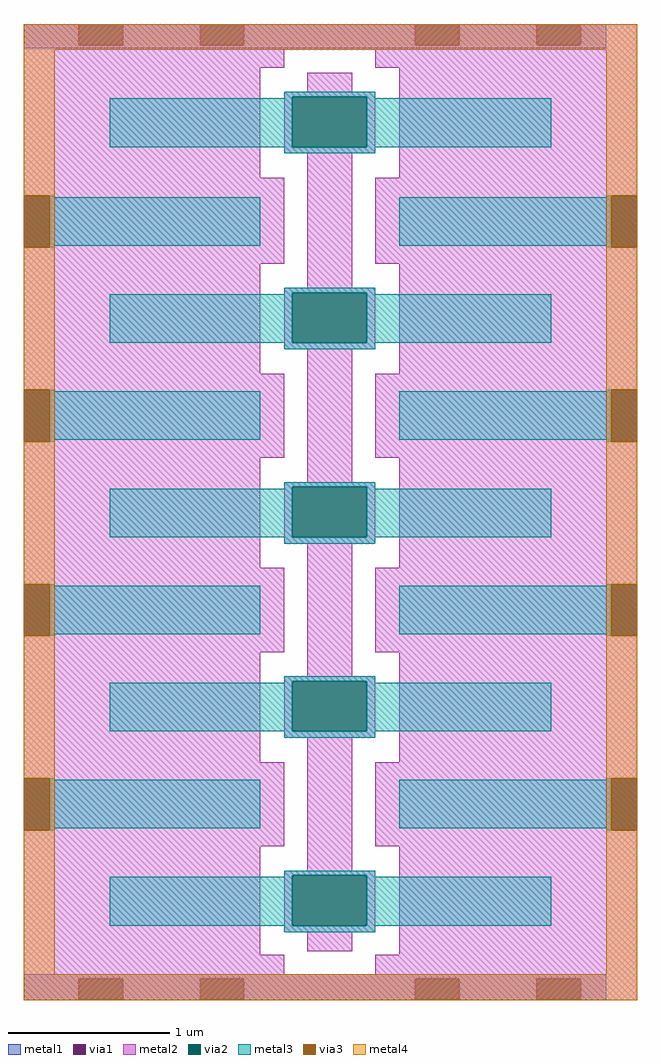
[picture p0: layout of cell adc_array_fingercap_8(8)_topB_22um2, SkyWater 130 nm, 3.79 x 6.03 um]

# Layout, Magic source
magic
tech sky130A
magscale 1 2
<< metal1 >>
rect 364 1212 432 1238
rect 486 1212 582 1238
rect 636 1212 848 1238
rect 902 1212 998 1238
rect 1052 1212 1084 1238
rect 364 1208 1084 1212
rect 364 58 1084 64
rect 364 32 432 58
rect 486 32 582 58
rect 636 32 848 58
rect 902 32 998 58
rect 1052 32 1084 58
<< via1 >>
rect 432 1212 486 1238
rect 582 1212 636 1238
rect 848 1212 902 1238
rect 998 1212 1052 1238
rect 432 32 486 58
rect 582 32 636 58
rect 848 32 902 58
rect 998 32 1052 58
<< metal2 >>
rect 364 1212 432 1238
rect 486 1212 582 1238
rect 636 1212 848 1238
rect 902 1212 998 1238
rect 1052 1212 1122 1238
rect 364 1206 1122 1212
rect 364 1184 686 1206
rect 798 1184 1122 1206
rect 364 1048 656 1184
rect 714 1154 770 1178
rect 686 1148 798 1154
rect 686 1086 696 1148
rect 788 1086 798 1148
rect 686 1078 798 1086
rect 364 942 686 1048
rect 364 806 656 942
rect 714 912 770 1078
rect 828 1048 1122 1184
rect 798 942 1122 1048
rect 686 906 798 912
rect 686 844 696 906
rect 788 844 798 906
rect 686 836 798 844
rect 364 702 686 806
rect 364 566 656 702
rect 714 672 770 836
rect 828 806 1122 942
rect 798 702 1122 806
rect 686 666 798 672
rect 686 604 696 666
rect 788 604 798 666
rect 686 596 798 604
rect 364 462 686 566
rect 364 326 656 462
rect 714 432 770 596
rect 828 566 1122 702
rect 798 462 1122 566
rect 686 426 798 432
rect 686 364 696 426
rect 788 364 798 426
rect 686 356 798 364
rect 364 222 686 326
rect 364 88 656 222
rect 714 192 770 356
rect 828 326 1122 462
rect 798 222 1122 326
rect 686 186 798 192
rect 686 124 696 186
rect 788 124 798 186
rect 686 116 798 124
rect 714 92 770 116
rect 828 88 1122 222
rect 364 64 686 88
rect 798 64 1122 88
rect 364 58 1122 64
rect 364 32 432 58
rect 486 32 582 58
rect 636 32 848 58
rect 902 32 998 58
rect 1052 32 1122 58
<< via2 >>
rect 696 1086 788 1148
rect 696 844 788 906
rect 696 604 788 666
rect 696 364 788 426
rect 696 124 788 186
<< metal3 >>
rect 686 1148 798 1154
rect 686 1146 696 1148
rect 470 1086 696 1146
rect 788 1146 798 1148
rect 788 1086 1016 1146
rect 686 1078 798 1086
rect 396 1024 402 1026
rect 1084 1024 1090 1026
rect 396 964 656 1024
rect 828 964 1090 1024
rect 396 962 402 964
rect 1084 962 1090 964
rect 686 906 798 912
rect 686 904 696 906
rect 470 844 696 904
rect 788 904 798 906
rect 788 844 1016 904
rect 686 836 798 844
rect 396 784 402 786
rect 1084 784 1090 786
rect 396 724 656 784
rect 828 724 1090 784
rect 396 722 402 724
rect 1084 722 1090 724
rect 686 666 798 672
rect 686 664 696 666
rect 470 604 696 664
rect 788 664 798 666
rect 788 604 1016 664
rect 686 596 798 604
rect 396 544 402 546
rect 1084 544 1090 546
rect 396 484 656 544
rect 828 484 1090 544
rect 396 482 402 484
rect 1084 482 1090 484
rect 686 426 798 432
rect 686 424 696 426
rect 470 364 696 424
rect 788 424 798 426
rect 788 364 1016 424
rect 686 356 798 364
rect 396 304 402 306
rect 1084 304 1090 306
rect 396 244 656 304
rect 828 244 1090 304
rect 396 242 402 244
rect 1084 242 1090 244
rect 686 186 798 192
rect 686 184 696 186
rect 470 124 696 184
rect 788 184 798 186
rect 788 124 1016 184
rect 686 116 798 124
<< via3 >>
rect 364 962 396 1026
rect 1090 962 1122 1026
rect 364 722 396 786
rect 1090 722 1122 786
rect 364 482 396 546
rect 1090 482 1122 546
rect 364 242 396 306
rect 1090 242 1122 306
<< metal4 >>
rect 364 1206 1122 1238
rect 364 1026 402 1206
rect 396 962 402 1026
rect 364 786 402 962
rect 396 722 402 786
rect 364 546 402 722
rect 396 482 402 546
rect 364 306 402 482
rect 396 242 402 306
rect 364 64 402 242
rect 1084 1026 1122 1206
rect 1084 962 1090 1026
rect 1084 786 1122 962
rect 1084 722 1090 786
rect 1084 546 1122 722
rect 1084 482 1090 546
rect 1084 306 1122 482
rect 1084 242 1090 306
rect 1084 64 1122 242
rect 364 32 1122 64
<< end >>
